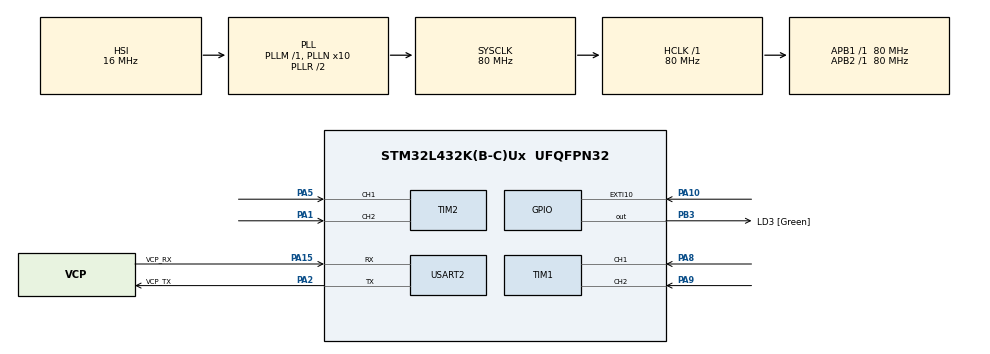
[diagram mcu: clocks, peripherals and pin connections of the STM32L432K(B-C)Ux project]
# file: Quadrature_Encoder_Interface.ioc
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Dma.Request0=TIM1_CH4/TRIG/COM
Dma.Request1=TIM2_UP
Dma.TIM1_CH4/TRIG/COM.0.Direction=DMA_PERIPH_TO_MEMORY
Dma.TIM1_CH4/TRIG/COM.0.Instance=DMA1_Channel4
Dma.TIM1_CH4/TRIG/COM.0.MemDataAlignment=DMA_MDATAALIGN_WORD
Dma.TIM1_CH4/TRIG/COM.0.MemInc=DMA_MINC_DISABLE
Dma.TIM1_CH4/TRIG/COM.0.Mode=DMA_NORMAL
Dma.TIM1_CH4/TRIG/COM.0.PeriphDataAlignment=DMA_PDATAALIGN_WORD
Dma.TIM1_CH4/TRIG/COM.0.PeriphInc=DMA_PINC_DISABLE
Dma.TIM1_CH4/TRIG/COM.0.Priority=DMA_PRIORITY_MEDIUM
Dma.TIM2_UP.1.Direction=DMA_PERIPH_TO_MEMORY
Dma.TIM2_UP.1.Instance=DMA1_Channel2
Dma.TIM2_UP.1.MemDataAlignment=DMA_MDATAALIGN_WORD
Dma.TIM2_UP.1.MemInc=DMA_MINC_DISABLE
Dma.TIM2_UP.1.Mode=DMA_CIRCULAR
Dma.TIM2_UP.1.PeriphDataAlignment=DMA_PDATAALIGN_WORD
Dma.TIM2_UP.1.PeriphInc=DMA_PINC_DISABLE
Dma.TIM2_UP.1.Priority=DMA_PRIORITY_MEDIUM
Mcu.Family=STM32L4
Mcu.Name=STM32L432K(B-C)Ux
Mcu.Package=UFQFPN32
NVIC.DMA1_Channel2_IRQn=true\:0\:0\:false\:false\:true\:false\:true\:true
NVIC.DMA1_Channel4_IRQn=true\:0\:0\:false\:false\:true\:false\:true\:true
NVIC.EXTI15_10_IRQn=true\:0\:0\:false\:false\:true\:true\:true\:true
NVIC.PriorityGroup=NVIC_PRIORITYGROUP_4
NVIC.TIM1_CC_IRQn=true\:0\:0\:false\:false\:true\:true\:true\:true
NVIC.TIM1_TRG_COM_IRQn=true\:0\:0\:false\:false\:true\:true\:true\:true
NVIC.TIM2_IRQn=true\:0\:0\:false\:false\:true\:true\:true\:true
NVIC.USART2_IRQn=true\:0\:0\:false\:false\:true\:true\:true\:true
PA0.GPIO_Label=MCO [High speed clock in]
PA0.Mode=HSE-External-Clock-Source-for-LittleOrca
PA0.Signal=RCC_CK_IN
PA1.Signal=S_TIM2_CH2
PA10.GPIO_ModeDefaultEXTI=GPIO_MODE_IT_RISING
PA10.Signal=GPXTI10
PA13\ (JTMS-SWDIO).GPIO_Label=SWDIO
PA13\ (JTMS-SWDIO).Mode=Serial_Wire
PA13\ (JTMS-SWDIO).Signal=SYS_JTMS-SWDIO
PA14\ (JTCK-SWCLK).GPIO_Label=SWCLK
PA14\ (JTCK-SWCLK).Mode=Serial_Wire
PA14\ (JTCK-SWCLK).Signal=SYS_JTCK-SWCLK
PA15\ (JTDI).GPIO_Label=VCP_RX
PA15\ (JTDI).Mode=Asynchronous
PA15\ (JTDI).Signal=USART2_RX
PA2.GPIO_Label=VCP_TX
PA2.Mode=Asynchronous
PA2.Signal=USART2_TX
PA5.Signal=S_TIM2_CH1
PA8.Signal=S_TIM1_CH1
PA9.Signal=S_TIM1_CH2
PB3\ (JTDO-TRACESWO).GPIO_Label=LD3 [Green]
PB3\ (JTDO-TRACESWO).Signal=GPIO_Output
PC14-OSC32_IN\ (PC14).Mode=LSE-External-Oscillator
PC14-OSC32_IN\ (PC14).Signal=RCC_OSC32_IN
PC15-OSC32_OUT\ (PC15).Mode=LSE-External-Oscillator
PC15-OSC32_OUT\ (PC15).Signal=RCC_OSC32_OUT
ProjectManager.HeapSize=0x200
ProjectManager.StackSize=0x400
ProjectManager.TargetToolchain=STM32CubeIDE
RCC.ADCFreq_Value=64000000
RCC.AHBFreq_Value=80000000
RCC.APB1Freq_Value=80000000
RCC.APB1TimFreq_Value=80000000
RCC.APB2Freq_Value=80000000
RCC.APB2TimFreq_Value=80000000
RCC.CortexFreq_Value=80000000
RCC.HCLKFreq_Value=80000000
RCC.HSE_VALUE=8000000
RCC.HSI16_VALUE=16000000
RCC.HSI48_VALUE=48000000
RCC.HSI_VALUE=16000000
RCC.MSI_VALUE=4000000
RCC.PLLMUL=RCC_PLLMUL_4
RCC.PLLN=10
RCC.PLLSourceVirtual=RCC_PLLSOURCE_HSI
RCC.SYSCLKFreq_VALUE=80000000
RCC.SYSCLKSource=RCC_SYSCLKSOURCE_PLLCLK
RCC.USBFreq_Value=64000000
RCC.VCOOutputFreq_Value=160000000
SH.S_TIM1_CH1.0=TIM1_CH1,Encoder_Interface
SH.S_TIM1_CH2.0=TIM1_CH2,Encoder_Interface
SH.S_TIM2_CH1.0=TIM2_CH1,Encoder_Interface
SH.S_TIM2_CH2.0=TIM2_CH2,Encoder_Interface
TIM1.AutoReloadPreload=TIM_AUTORELOAD_PRELOAD_ENABLE
TIM1.EncoderMode=TIM_ENCODERMODE_TI12
TIM2.AutoReloadPreload=TIM_AUTORELOAD_PRELOAD_ENABLE
USART2.VirtualMode-Asynchronous=VM_ASYNC
board=NUCLEO-L432KC

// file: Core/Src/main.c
/* USER CODE BEGIN Header */
/**
  ******************************************************************************
  * @file           : main.c
  * @brief          : Main program body
  ******************************************************************************
  * @attention
  *
  * Copyright (c) 2024 STMicroelectronics.
  * All rights reserved.
  *
  * This software is licensed under terms that can be found in the LICENSE file
  * in the root directory of this software component.
  * If no LICENSE file comes with this software, it is provided AS-IS.
  *
  ******************************************************************************
  */
/* USER CODE END Header */
#include "main.h"

/* USER CODE BEGIN PTD */
typedef union{
   struct {
	   __IO uint32_t Timer1_Count[2];
	   __IO uint32_t Timer2_Count[2];
   } Encoder;
   __IO uint16_t asInt16s[8];
   __IO uint8_t asUInt8s[16];
} Encoder_DATA_PACKET_T;
/* USER CODE END PTD */

TIM_HandleTypeDef htim1;
TIM_HandleTypeDef htim2;
DMA_HandleTypeDef hdma_tim1_ch4_trig_com;
DMA_HandleTypeDef hdma_tim2_up;

UART_HandleTypeDef huart2;

/* USER CODE BEGIN PV */
Encoder_DATA_PACKET_T Encoder_Data = {0};

//uint8_t Tx_Buffer[32];
/* USER CODE END PV */

void SystemClock_Config(void);
static void MX_GPIO_Init(void);
static void MX_DMA_Init(void);
static void MX_USART2_UART_Init(void);
static void MX_TIM1_Init(void);
static void MX_TIM2_Init(void);

/* USER CODE BEGIN 0 */

//uint32_t Tx_Buffer[32] = {0};
//uint32_t Tx_Buffer2[32] = {0};
/* USER CODE END 0 */

int main(void)
{

  /* MCU Configuration--------------------------------------------------------*/

  /* Reset of all peripherals, Initializes the Flash interface and the Systick. */
  HAL_Init();

  /* Configure the system clock */
  SystemClock_Config();

  /* Initialize all configured peripherals */
  MX_GPIO_Init();
  MX_DMA_Init();
  MX_USART2_UART_Init();
  MX_TIM1_Init();
  MX_TIM2_Init();
  /* USER CODE BEGIN 2 */
  HAL_TIM_Base_Start_DMA(&htim1, Encoder_Data.Encoder.Timer1_Count, 1);
  HAL_TIM_Encoder_Start_DMA(&htim1, TIM_CHANNEL_ALL, Encoder_Data.Encoder.Timer1_Count, Encoder_Data.Encoder.Timer1_Count+1, 1);
  HAL_TIM_Base_Start_DMA(&htim2, Encoder_Data.Encoder.Timer2_Count, 1);
  HAL_TIM_Encoder_Start_DMA(&htim2, TIM_CHANNEL_ALL, Encoder_Data.Encoder.Timer2_Count, Encoder_Data.Encoder.Timer2_Count+1, 1);

  //uint8_t Tx_Buffer[128];
  /* USER CODE END 2 */

  /* Infinite loop */
  /* USER CODE BEGIN WHILE */
  while (1)
  {
      //sprintf(Tx_Buffer, "Encoder Ticks = %d\n\r", ((TIM1->CNT)));
      HAL_UART_Transmit(&huart2, Encoder_Data.asUInt8s, 16, 20);
      HAL_Delay(20);
    /* USER CODE END WHILE */

  }
}

void SystemClock_Config(void)
{
  RCC_OscInitTypeDef RCC_OscInitStruct = {0};
  RCC_ClkInitTypeDef RCC_ClkInitStruct = {0};

  /** Configure the main internal regulator output voltage
  */
  if (HAL_PWREx_ControlVoltageScaling(PWR_REGULATOR_VOLTAGE_SCALE1) != HAL_OK)
  {
    Error_Handler();
  }

  /** Initializes the RCC Oscillators according to the specified parameters
  * in the RCC_OscInitTypeDef structure.
  */
  RCC_OscInitStruct.OscillatorType = RCC_OSCILLATORTYPE_HSI;
  RCC_OscInitStruct.HSIState = RCC_HSI_ON;
  RCC_OscInitStruct.HSICalibrationValue = RCC_HSICALIBRATION_DEFAULT;
  RCC_OscInitStruct.PLL.PLLState = RCC_PLL_ON;
  RCC_OscInitStruct.PLL.PLLSource = RCC_PLLSOURCE_HSI;
  RCC_OscInitStruct.PLL.PLLM = 1;
  RCC_OscInitStruct.PLL.PLLN = 10;
  RCC_OscInitStruct.PLL.PLLP = RCC_PLLP_DIV7;
  RCC_OscInitStruct.PLL.PLLQ = RCC_PLLQ_DIV2;
  RCC_OscInitStruct.PLL.PLLR = RCC_PLLR_DIV2;
  if (HAL_RCC_OscConfig(&RCC_OscInitStruct) != HAL_OK)
  {
    Error_Handler();
  }

  /** Initializes the CPU, AHB and APB buses clocks
  */
  RCC_ClkInitStruct.ClockType = RCC_CLOCKTYPE_HCLK|RCC_CLOCKTYPE_SYSCLK
                              |RCC_CLOCKTYPE_PCLK1|RCC_CLOCKTYPE_PCLK2;
  RCC_ClkInitStruct.SYSCLKSource = RCC_SYSCLKSOURCE_PLLCLK;
  RCC_ClkInitStruct.AHBCLKDivider = RCC_SYSCLK_DIV1;
  RCC_ClkInitStruct.APB1CLKDivider = RCC_HCLK_DIV1;
  RCC_ClkInitStruct.APB2CLKDivider = RCC_HCLK_DIV1;

  if (HAL_RCC_ClockConfig(&RCC_ClkInitStruct, FLASH_LATENCY_4) != HAL_OK)
  {
    Error_Handler();
  }
}

static void MX_TIM1_Init(void)
{

  TIM_Encoder_InitTypeDef sConfig = {0};
  TIM_MasterConfigTypeDef sMasterConfig = {0};

  htim1.Instance = TIM1;
  htim1.Init.Prescaler = 0;
  htim1.Init.CounterMode = TIM_COUNTERMODE_UP;
  htim1.Init.Period = 65535;
  htim1.Init.ClockDivision = TIM_CLOCKDIVISION_DIV1;
  htim1.Init.RepetitionCounter = 0;
  htim1.Init.AutoReloadPreload = TIM_AUTORELOAD_PRELOAD_ENABLE;
  sConfig.EncoderMode = TIM_ENCODERMODE_TI12;
  sConfig.IC1Polarity = TIM_ICPOLARITY_RISING;
  sConfig.IC1Selection = TIM_ICSELECTION_DIRECTTI;
  sConfig.IC1Prescaler = TIM_ICPSC_DIV1;
  sConfig.IC1Filter = 0;
  sConfig.IC2Polarity = TIM_ICPOLARITY_RISING;
  sConfig.IC2Selection = TIM_ICSELECTION_DIRECTTI;
  sConfig.IC2Prescaler = TIM_ICPSC_DIV1;
  sConfig.IC2Filter = 0;
  if (HAL_TIM_Encoder_Init(&htim1, &sConfig) != HAL_OK)
  {
    Error_Handler();
  }
  sMasterConfig.MasterOutputTrigger = TIM_TRGO_RESET;
  sMasterConfig.MasterOutputTrigger2 = TIM_TRGO2_RESET;
  sMasterConfig.MasterSlaveMode = TIM_MASTERSLAVEMODE_DISABLE;
  if (HAL_TIMEx_MasterConfigSynchronization(&htim1, &sMasterConfig) != HAL_OK)
  {
    Error_Handler();
  }

}

static void MX_TIM2_Init(void)
{

  TIM_Encoder_InitTypeDef sConfig = {0};
  TIM_MasterConfigTypeDef sMasterConfig = {0};

  htim2.Instance = TIM2;
  htim2.Init.Prescaler = 0;
  htim2.Init.CounterMode = TIM_COUNTERMODE_UP;
  htim2.Init.Period = 4294967295;
  htim2.Init.ClockDivision = TIM_CLOCKDIVISION_DIV1;
  htim2.Init.AutoReloadPreload = TIM_AUTORELOAD_PRELOAD_ENABLE;
  sConfig.EncoderMode = TIM_ENCODERMODE_TI1;
  sConfig.IC1Polarity = TIM_ICPOLARITY_RISING;
  sConfig.IC1Selection = TIM_ICSELECTION_DIRECTTI;
  sConfig.IC1Prescaler = TIM_ICPSC_DIV1;
  sConfig.IC1Filter = 0;
  sConfig.IC2Polarity = TIM_ICPOLARITY_RISING;
  sConfig.IC2Selection = TIM_ICSELECTION_DIRECTTI;
  sConfig.IC2Prescaler = TIM_ICPSC_DIV1;
  sConfig.IC2Filter = 0;
  if (HAL_TIM_Encoder_Init(&htim2, &sConfig) != HAL_OK)
  {
    Error_Handler();
  }
  sMasterConfig.MasterOutputTrigger = TIM_TRGO_RESET;
  sMasterConfig.MasterSlaveMode = TIM_MASTERSLAVEMODE_DISABLE;
  if (HAL_TIMEx_MasterConfigSynchronization(&htim2, &sMasterConfig) != HAL_OK)
  {
    Error_Handler();
  }

}

static void MX_USART2_UART_Init(void)
{

  huart2.Instance = USART2;
  huart2.Init.BaudRate = 115200;
  huart2.Init.WordLength = UART_WORDLENGTH_8B;
  huart2.Init.StopBits = UART_STOPBITS_1;
  huart2.Init.Parity = UART_PARITY_NONE;
  huart2.Init.Mode = UART_MODE_TX_RX;
  huart2.Init.HwFlowCtl = UART_HWCONTROL_NONE;
  huart2.Init.OverSampling = UART_OVERSAMPLING_16;
  huart2.Init.OneBitSampling = UART_ONE_BIT_SAMPLE_DISABLE;
  huart2.AdvancedInit.AdvFeatureInit = UART_ADVFEATURE_NO_INIT;
  if (HAL_UART_Init(&huart2) != HAL_OK)
  {
    Error_Handler();
  }

}

static void MX_DMA_Init(void)
{

  /* DMA controller clock enable */
  __HAL_RCC_DMA1_CLK_ENABLE();

  /* DMA interrupt init */
  /* DMA1_Channel2_IRQn interrupt configuration */
  HAL_NVIC_SetPriority(DMA1_Channel2_IRQn, 0, 0);
  HAL_NVIC_EnableIRQ(DMA1_Channel2_IRQn);
  /* DMA1_Channel4_IRQn interrupt configuration */
  HAL_NVIC_SetPriority(DMA1_Channel4_IRQn, 0, 0);
  HAL_NVIC_EnableIRQ(DMA1_Channel4_IRQn);

}

static void MX_GPIO_Init(void)
{
  GPIO_InitTypeDef GPIO_InitStruct = {0};

  /* GPIO Ports Clock Enable */
  __HAL_RCC_GPIOC_CLK_ENABLE();
  __HAL_RCC_GPIOA_CLK_ENABLE();
  __HAL_RCC_GPIOB_CLK_ENABLE();

  /*Configure GPIO pin Output Level */
  HAL_GPIO_WritePin(LD3_GPIO_Port, LD3_Pin, GPIO_PIN_RESET);

  /*Configure GPIO pin : PA10 */
  GPIO_InitStruct.Pin = GPIO_PIN_10;
  GPIO_InitStruct.Mode = GPIO_MODE_IT_RISING;
  GPIO_InitStruct.Pull = GPIO_NOPULL;
  HAL_GPIO_Init(GPIOA, &GPIO_InitStruct);

  /*Configure GPIO pin : LD3_Pin */
  GPIO_InitStruct.Pin = LD3_Pin;
  GPIO_InitStruct.Mode = GPIO_MODE_OUTPUT_PP;
  GPIO_InitStruct.Pull = GPIO_NOPULL;
  GPIO_InitStruct.Speed = GPIO_SPEED_FREQ_LOW;
  HAL_GPIO_Init(LD3_GPIO_Port, &GPIO_InitStruct);

  /* EXTI interrupt init*/
  HAL_NVIC_SetPriority(EXTI15_10_IRQn, 0, 0);
  HAL_NVIC_EnableIRQ(EXTI15_10_IRQn);

}

/* USER CODE BEGIN 4 */
void HAL_GPIO_EXTI_Callback(uint16_t GPIO_Pin)
{
    if(GPIO_Pin == GPIO_PIN_10) // If The INT Source Is EXTI Line9 (A9 Pin)
    {
    	TIM1->CNT = 0;
    }
}
/* USER CODE END 4 */

void Error_Handler(void)
{
  __disable_irq();
  while (1)
  {
  }
}
